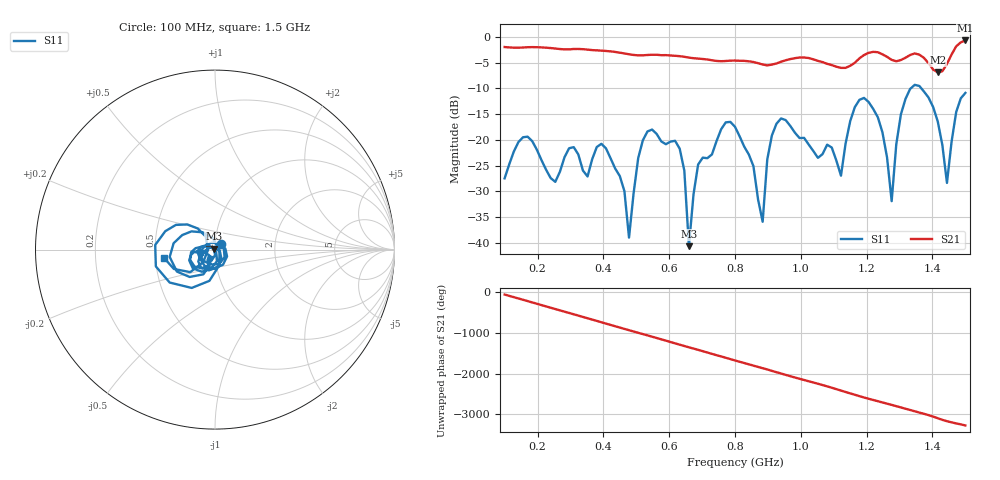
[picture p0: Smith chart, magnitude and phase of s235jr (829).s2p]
! NanoVNA-App
! Date: 2025-09-25 15:10:37
! Start: 100MHz Stop: 1,5GHz Points: 101
! S-Parameter data: F S11 S21 S12 S22
# Hz S RI R 50
!  Frequency  S11_Real  S11_Imag  S21_Real  S21_Imag  S12_Real  S12_Imag  S22_Real  S22_Imag
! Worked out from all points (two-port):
!   101 points, 100 MHz to 1.5 GHz, reference 50 ohm
!   highest |S21| = -0.69 dB at 1.5 GHz (marker M1); lowest = -6.9 dB at 1.416 GHz (marker M2)
!   |S21| within 3 dB of the highest: start of sweep to 622.3 MHz; 1.188 GHz to 1.257 GHz (68.54 MHz wide, 5.61 % of centre) (the widest 2 of 4)
!   lowest |S11| = -40.6 dB at 660 MHz (marker M3), VSWR 1.02, Z = 49.2 + j0.538 ohm
!   |S11| at or under -10 dB: start of sweep to 1.334 GHz; 1.366 GHz to end of sweep
!   S12 and S22 are empty: the file has one direction only
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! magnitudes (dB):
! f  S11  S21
! 100 MHz  -27.5  -2.0
! 170 MHz  -19.4  -2.0
! 338 MHz  -25.9  -2.4
! 408 MHz  -21.6  -2.7
! 478 MHz  -39.0  -3.4
! 520 MHz  -20.1  -3.6
! 576 MHz  -20.3  -3.5
! 632 MHz  -21.7  -3.7
! 660 MHz  -40.6  -4.0
! 688 MHz  -24.8  -4.2
! 800 MHz  -17.5  -4.6
! 884 MHz  -35.9  -5.4
! 926 MHz  -16.9  -5.2
! 1.038 GHz  -22.2  -4.4
! 1.122 GHz  -26.9  -6.0
! 1.192 GHz  -11.8  -3.5
! 1.248 GHz  -18.5  -3.4
! 1.276 GHz  -31.9  -4.5
! 1.332 GHz  -10.1  -3.5
! 1.416 GHz  -16.4  -6.9
! 1.444 GHz  -28.3  -5.2
! 1.5 GHz  -10.9  -0.7
